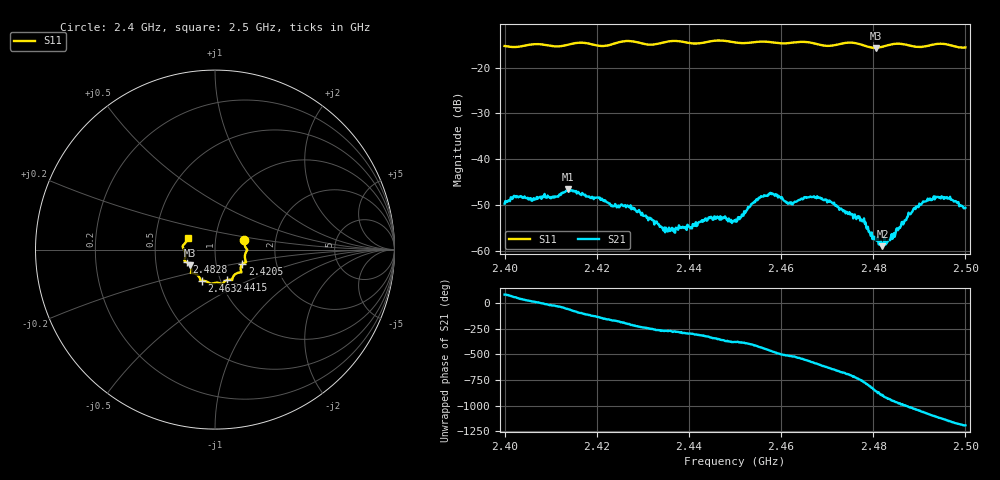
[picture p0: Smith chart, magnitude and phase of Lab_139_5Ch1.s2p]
# Hz S RI R 50
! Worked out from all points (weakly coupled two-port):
!   601 points, 2.4 GHz to 2.5 GHz, reference 50 ohm
!   highest |S21| = -46.65 dB at 2.4138 GHz (marker M1); lowest = -59.0 dB at 2.482 GHz (marker M2)
!   lowest |S11| = -15.7 dB at 2.4805 GHz (marker M3), VSWR 1.39, Z = 37.3 - j6.67 ohm
!   |S11| at or under -10 dB: start of sweep to end of sweep
!   S12 and S22 are empty: the file has one direction only
!   S11 on the Smith chart (normalised r, x): 2.4 GHz: 1.38, +0.15; 2.4205 GHz: 1.34, -0.23; 2.4415 GHz: 1.07, -0.38; 2.4632 GHz: 0.82, -0.29; 2.4828 GHz: 0.72, -0.10; 2.5 GHz: 0.73, +0.10
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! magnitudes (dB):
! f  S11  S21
! 2.4 GHz  -15.3  -49.7
! 2.4138 GHz  -15.0  -46.6
! 2.4167 GHz  -14.6  -47.9
! 2.4205 GHz  -15.3  -48.5
! 2.4273 GHz  -14.2  -50.1
! 2.4333 GHz  -14.8  -54.3
! 2.4365 GHz  -14.2  -55.7
! 2.4415 GHz  -14.8  -53.8
! 2.446 GHz  -14.1  -52.9
! 2.45 GHz  -14.5  -53.6
! 2.456 GHz  -14.3  -48.2
! 2.4632 GHz  -14.5  -49.3
! 2.4667 GHz  -14.6  -48.3
! 2.4775 GHz  -15.0  -53.4
! 2.4805 GHz  -15.7  -57.7
! 2.482 GHz  -15.5  -59.0
! 2.4828 GHz  -15.2  -58.5
! 2.4833 GHz  -15.1  -57.7
! 2.4882 GHz  -15.3  -52.0
! 2.4913 GHz  -15.4  -49.2
! 2.4962 GHz  -15.0  -48.6
! 2.5 GHz  -15.6  -50.7
